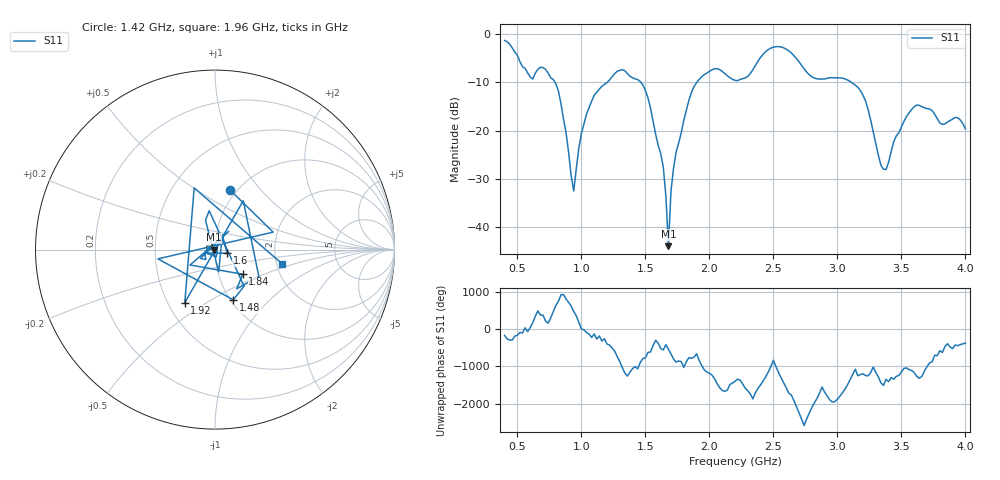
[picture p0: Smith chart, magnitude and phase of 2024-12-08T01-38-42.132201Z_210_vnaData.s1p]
!Created with skrf (http://scikit-rf.org).
# Hz S RI R 50.0
!freq ReS11 ImS11
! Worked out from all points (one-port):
!   181 points, 400 MHz to 4 GHz, reference 50 ohm
!   lowest |S11| = -43.9 dB at 1.68 GHz (marker M1), VSWR 1.01, Z = 49.4 - j0.0221 ohm
!   |S11| at or under -10 dB: 794.3 MHz to 1.201 GHz (407.1 MHz wide, 40.8 % of centre); 1.465 GHz to 1.901 GHz (436.6 MHz wide, 25.9 % of centre); 3.11 GHz to end of sweep
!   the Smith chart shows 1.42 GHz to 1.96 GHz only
!   S11 on the Smith chart (normalised r, x): 1.42 GHz: 0.92, +0.70; 1.48 GHz: 1.03, -0.63; 1.6 GHz: 1.14, -0.05; 1.84 GHz: 1.31, -0.37; 1.92 GHz: 0.61, -0.41; 1.96 GHz: 2.14, -0.39
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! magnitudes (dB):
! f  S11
! 400 MHz  -1.3
! 600 MHz  -8.9
! 680 MHz  -6.9
! 780 MHz  -9.4
! 860 MHz  -17.6
! 940 MHz  -32.5
! 980 MHz  -23.5
! 1.04 GHz  -16.6
! 1.3 GHz  -7.5
! 1.42 GHz  -9.3
! 1.48 GHz  -10.5
! 1.6 GHz  -23.0
! 1.64 GHz  -27.6
! 1.68 GHz  -43.9
! 1.7 GHz  -32.5
! 1.76 GHz  -22.5
! 1.84 GHz  -13.7
! 1.92 GHz  -9.4
! 1.96 GHz  -8.4
! 2.2 GHz  -9.6
! 2.48 GHz  -2.9
! 2.66 GHz  -4.4
! 2.82 GHz  -9.1
! 3.1 GHz  -9.8
! 3.22 GHz  -13.9
! 3.36 GHz  -28.0
! 3.56 GHz  -16.3
! 4 GHz  -19.6
